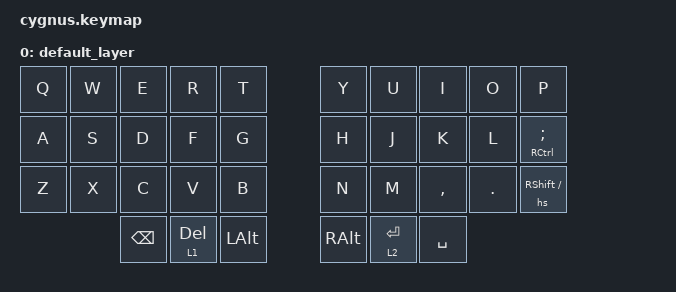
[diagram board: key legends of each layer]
/*
 * Copyright (c) 2020 The ZMK Contributors
 *
 * SPDX-License-Identifier: MIT
 */

#include <behaviors.dtsi>
#include <dt-bindings/zmk/keys.h>
#include <dt-bindings/zmk/bt.h>


keymap {
	compatible = "zmk,keymap";
	
	default_layer {
		bindings = <
			&kp Q 	   	 &kp W 		&kp E		&kp R		&kp T				&kp Y 		&kp U		&kp I		&kp O		&kp P
			&kp A            &kp S 		&kp D		&kp F	 	&kp G		 		&kp H 		&kp J		&kp K		&kp L 		&hm RCTRL SEMI
			&kp Z            &kp X		&kp C 		&kp V 		&kp B   			&kp N		&kp M  		&kp COMMA 	&kp PERIOD	&hs RSHIFT SLASH
							&kp BSPC	&lt 1 DEL	&kp LALT			&kp RALT	&lt 2 RET	&kp SPACE	 
		>;
	};
};
};
